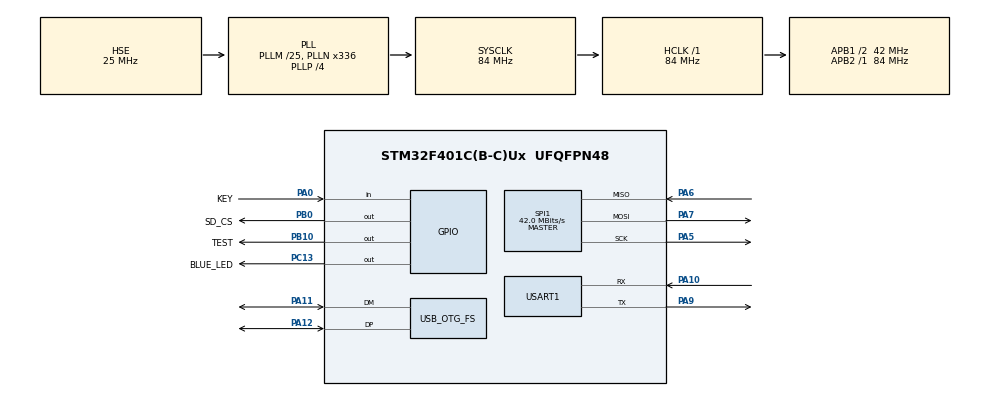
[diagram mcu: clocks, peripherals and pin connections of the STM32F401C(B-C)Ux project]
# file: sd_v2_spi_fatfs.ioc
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Mcu.Family=STM32F4
Mcu.Name=STM32F401C(B-C)Ux
Mcu.Package=UFQFPN48
NVIC.OTG_FS_IRQn=true\:0\:0\:false\:false\:true\:false\:true\:true
NVIC.PriorityGroup=NVIC_PRIORITYGROUP_4
NVIC.TIM3_IRQn=true\:0\:0\:false\:false\:true\:true\:true\:true
PA0-WKUP.GPIO_Label=KEY
PA0-WKUP.Signal=GPIO_Input
PA10.GPIO_Speed=GPIO_SPEED_FREQ_LOW
PA10.Mode=Asynchronous
PA10.Signal=USART1_RX
PA11.Mode=Device_Only
PA11.Signal=USB_OTG_FS_DM
PA12.Mode=Device_Only
PA12.Signal=USB_OTG_FS_DP
PA13.Mode=Serial_Wire
PA13.Signal=SYS_JTMS-SWDIO
PA14.Mode=Serial_Wire
PA14.Signal=SYS_JTCK-SWCLK
PA5.GPIO_PuPd=GPIO_NOPULL
PA5.GPIO_Speed=GPIO_SPEED_FREQ_HIGH
PA5.Mode=Full_Duplex_Master
PA5.Signal=SPI1_SCK
PA6.GPIO_PuPd=GPIO_NOPULL
PA6.GPIO_Speed=GPIO_SPEED_FREQ_HIGH
PA6.Mode=Full_Duplex_Master
PA6.Signal=SPI1_MISO
PA7.GPIO_PuPd=GPIO_NOPULL
PA7.GPIO_Speed=GPIO_SPEED_FREQ_HIGH
PA7.Mode=Full_Duplex_Master
PA7.Signal=SPI1_MOSI
PA9.GPIO_Speed=GPIO_SPEED_FREQ_LOW
PA9.Mode=Asynchronous
PA9.Signal=USART1_TX
PB0.GPIO_Label=SD_CS
PB0.GPIO_PuPd=GPIO_NOPULL
PB0.GPIO_Speed=GPIO_SPEED_FREQ_HIGH
PB0.PinState=GPIO_PIN_SET
PB0.Signal=GPIO_Output
PB10.GPIO_Label=TEST
PB10.PinState=GPIO_PIN_SET
PB10.Signal=GPIO_Output
PC13-ANTI_TAMP.GPIO_Label=BLUE_LED
PC13-ANTI_TAMP.GPIO_PuPd=GPIO_PULLDOWN
PC13-ANTI_TAMP.Signal=GPIO_Output
PC14-OSC32_IN.Mode=LSE-External-Oscillator
PC14-OSC32_IN.Signal=RCC_OSC32_IN
PC15-OSC32_OUT.Mode=LSE-External-Oscillator
PC15-OSC32_OUT.Signal=RCC_OSC32_OUT
PH0\ -\ OSC_IN.Mode=HSE-External-Oscillator
PH0\ -\ OSC_IN.Signal=RCC_OSC_IN
PH1\ -\ OSC_OUT.Mode=HSE-External-Oscillator
PH1\ -\ OSC_OUT.Signal=RCC_OSC_OUT
ProjectManager.HeapSize=0x200
ProjectManager.StackSize=0x400
ProjectManager.TargetToolchain=Makefile
RCC.48MHZClocksFreq_Value=48000000
RCC.AHBFreq_Value=84000000
RCC.APB1CLKDivider=RCC_HCLK_DIV2
RCC.APB1Freq_Value=42000000
RCC.APB1TimFreq_Value=84000000
RCC.APB2Freq_Value=84000000
RCC.APB2TimFreq_Value=84000000
RCC.CortexFreq_Value=84000000
RCC.HCLKFreq_Value=84000000
RCC.HSE_VALUE=25000000
RCC.HSI_VALUE=16000000
RCC.PLLM=25
RCC.PLLN=336
RCC.PLLP=RCC_PLLP_DIV4
RCC.PLLQ=7
RCC.SYSCLKFreq_VALUE=84000000
RCC.SYSCLKSource=RCC_SYSCLKSOURCE_PLLCLK
RCC.VCOOutputFreq_Value=336000000
SPI1.CLKPhase=SPI_PHASE_2EDGE
SPI1.CLKPolarity=SPI_POLARITY_HIGH
SPI1.CalculateBaudRate=42.0 MBits/s
SPI1.Direction=SPI_DIRECTION_2LINES
SPI1.Mode=SPI_MODE_MASTER
SPI1.VirtualType=VM_MASTER
TIM3.Period=999
TIM3.Prescaler=84
USART1.VirtualMode=VM_ASYNC
USB_DEVICE.CLASS_NAME_FS=CDC
USB_DEVICE.VirtualMode=Cdc
USB_DEVICE.VirtualModeFS=Cdc_FS
USB_OTG_FS.VirtualMode=Device_Only
VP_TIM3_VS_ClockSourceINT.Mode=Internal
VP_USB_DEVICE_VS_USB_DEVICE_CDC_FS.Mode=CDC_FS
board=custom

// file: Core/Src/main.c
/* USER CODE BEGIN Header */
/**
  ******************************************************************************
  * @file           : main.c
  * @brief          : Main program body
  ******************************************************************************
  * @attention
  *
  * Copyright (c) 2023 STMicroelectronics.
  * All rights reserved.
  *
  * This software is licensed under terms that can be found in the LICENSE file
  * in the root directory of this software component.
  * If no LICENSE file comes with this software, it is provided AS-IS.
  *
  ******************************************************************************
  */
/* USER CODE END Header */
#include "main.h"
#include "spi.h"
#include "tim.h"
#include "usart.h"
#include "usb_device.h"
#include "gpio.h"

/* USER CODE BEGIN Includes */
#include "usbd_cdc_if.h"
#include "diskio.h"
/* USER CODE END Includes */

/* USER CODE BEGIN PV */
uint16_t Timer1, Timer2;
/* USER CODE END PV */

void SystemClock_Config(void);

int main(void)
{

  /* MCU Configuration--------------------------------------------------------*/

  /* Reset of all peripherals, Initializes the Flash interface and the Systick. */
  HAL_Init();

  /* Configure the system clock */
  SystemClock_Config();

  /* Initialize all configured peripherals */
  MX_GPIO_Init();
  MX_USB_DEVICE_Init();
  MX_USART1_UART_Init();
  MX_SPI1_Init();
  MX_TIM3_Init();
  /* USER CODE BEGIN 2 */
  uint8_t msg[200], len;
  char buff[512];
  char check_buff[512];
  memset(buff, 0, 512);
  HAL_TIM_Base_Start_IT(&htim3);
  HAL_Delay(50); /* wait at least 35 ms to ramp up power */
  // int status = disk_initialize(0);
  // if (status)
  //   Error_Handler();
  // disk_ioctl(0, MMC_GET_CSD, buff);
  // disk_ioctl(0, MMC_GET_CID, buff);
  // disk_ioctl(0, MMC_GET_OCR, buff);
  // disk_ioctl(0, MMC_GET_SDSTAT, buff);
  FATFS fs;
  FATFS *pfs;
  FIL fil;
  FRESULT fres;
  DWORD fre_clust;
  uint32_t total, free;
  UINT buff_size, remain;
  fres = f_mount(&fs, "", 0);
  if (fres != FR_OK) {
    Error_Handler();
  }
  HAL_GPIO_TogglePin(TEST_GPIO_Port, TEST_Pin);
  fres = f_open(&fil, "test1.txt", FA_CREATE_ALWAYS | FA_READ | FA_WRITE);
  if (fres != FR_OK) {
    Error_Handler();
  }
  fres = f_getfree("", &fre_clust, &pfs);
  if (fres != FR_OK) {
    Error_Handler();
  }
  total = (uint32_t)((pfs->n_fatent - 2) * pfs->csize * 0.5);
  free = (uint32_t)(fre_clust * pfs->csize * 0.5);
  len = snprintf((char *)msg, 200, "total: %ld, free: %ld\n", total, free);
  CDC_Transmit_FS(msg, len);
  if (free < 1) {
    Error_Handler();
  }
  buff_size = snprintf(buff, 512, "xxxxx,xxxx,xxxx,xxxx,xxxx,xxxx,xxxx,xxxx,"
                                  "xxxx,xxxx,xxxx,xxxx,xxxx\n"
                                  "xxxx,xxxx,xxxx,xxxx,xxxx,xxxx,xxxx,xxxx,"
                                  "xxxx,xxxx,xxxx,xxxx,xxxx%s", "\n");
  for (uint16_t i = 0; i < 500; i++) {
    fres = f_write(&fil, buff, buff_size, &remain);
    if (fres != FR_OK) {
      Error_Handler();
    }
    // f_puts(buff, &fil);
  }
  fres = f_close(&fil);
  if (fres != FR_OK) {
    Error_Handler();
  }
  fres = f_open(&fil, "test1.txt", FA_READ);
  if (fres != FR_OK) {
    Error_Handler();
  }
  while (f_gets(check_buff, sizeof(check_buff), &fil)) {
    CDC_Transmit_FS((uint8_t *)check_buff, 512);
  }
  fres = f_close(&fil);
  if (fres != FR_OK) {
    Error_Handler();
  }
  HAL_GPIO_TogglePin(TEST_GPIO_Port, TEST_Pin);
  fres = f_mount(NULL, "", 0);
  if (fres != FR_OK) {
    Error_Handler();
  }
  len = snprintf((char *)msg, 200, "Complete!!%s", "\n");
  /* USER CODE END 2 */

  /* Infinite loop */
  /* USER CODE BEGIN WHILE */
  while (1)
  {
    CDC_Transmit_FS(msg, len);
    HAL_Delay(1000);
    /* USER CODE END WHILE */

  }
}

void SystemClock_Config(void)
{
  RCC_OscInitTypeDef RCC_OscInitStruct = {0};
  RCC_ClkInitTypeDef RCC_ClkInitStruct = {0};

  /** Configure the main internal regulator output voltage
  */
  __HAL_RCC_PWR_CLK_ENABLE();
  __HAL_PWR_VOLTAGESCALING_CONFIG(PWR_REGULATOR_VOLTAGE_SCALE2);

  /** Initializes the RCC Oscillators according to the specified parameters
  * in the RCC_OscInitTypeDef structure.
  */
  RCC_OscInitStruct.OscillatorType = RCC_OSCILLATORTYPE_HSE;
  RCC_OscInitStruct.HSEState = RCC_HSE_ON;
  RCC_OscInitStruct.PLL.PLLState = RCC_PLL_ON;
  RCC_OscInitStruct.PLL.PLLSource = RCC_PLLSOURCE_HSE;
  RCC_OscInitStruct.PLL.PLLM = 25;
  RCC_OscInitStruct.PLL.PLLN = 336;
  RCC_OscInitStruct.PLL.PLLP = RCC_PLLP_DIV4;
  RCC_OscInitStruct.PLL.PLLQ = 7;
  if (HAL_RCC_OscConfig(&RCC_OscInitStruct) != HAL_OK)
  {
    Error_Handler();
  }

  /** Initializes the CPU, AHB and APB buses clocks
  */
  RCC_ClkInitStruct.ClockType = RCC_CLOCKTYPE_HCLK|RCC_CLOCKTYPE_SYSCLK
                              |RCC_CLOCKTYPE_PCLK1|RCC_CLOCKTYPE_PCLK2;
  RCC_ClkInitStruct.SYSCLKSource = RCC_SYSCLKSOURCE_PLLCLK;
  RCC_ClkInitStruct.AHBCLKDivider = RCC_SYSCLK_DIV1;
  RCC_ClkInitStruct.APB1CLKDivider = RCC_HCLK_DIV2;
  RCC_ClkInitStruct.APB2CLKDivider = RCC_HCLK_DIV1;

  if (HAL_RCC_ClockConfig(&RCC_ClkInitStruct, FLASH_LATENCY_2) != HAL_OK)
  {
    Error_Handler();
  }
}

/* USER CODE BEGIN 4 */
void HAL_TIM_PeriodElapsedCallback (TIM_HandleTypeDef * htim)
{
  uint16_t count;

  count = Timer1;
  if (count)
    Timer1 = --count;
  count = Timer2;
  if (count)
    Timer2 = --count;
}
/* USER CODE END 4 */

void Error_Handler(void)
{
  __disable_irq();
  while (1)
  {
  }
}
